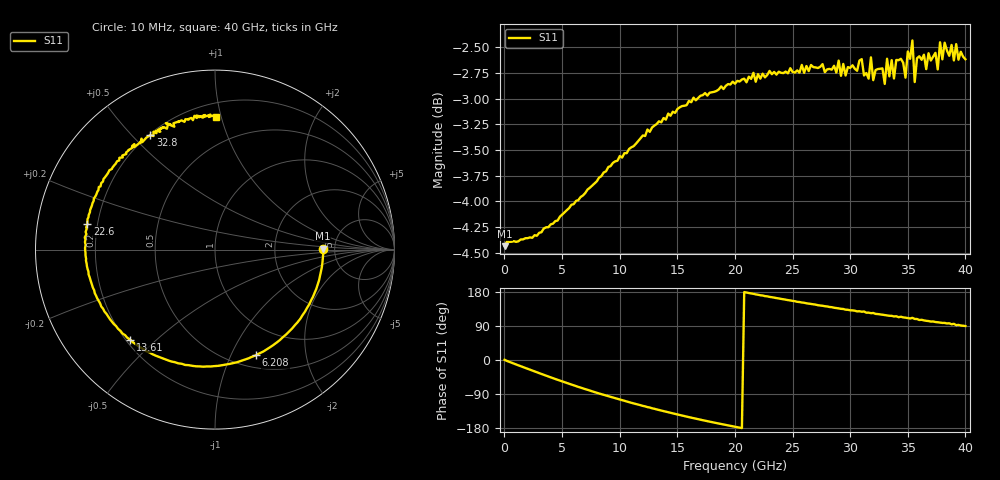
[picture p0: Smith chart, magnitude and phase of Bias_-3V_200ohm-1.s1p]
!Agilent Technologies,N5227A,US51270434,A.10.00.00
!Agilent N5227A: A.10.00.00
!Date: Monday, March 30, 2026 11:35:14
!Correction: S11(Full 1 Port(1))
!S1P File: Measurement: S11:
# Hz S  dB  R 50
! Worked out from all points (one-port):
!   201 points, 10 MHz to 40 GHz, reference 50 ohm
!   lowest |S11| = -4.4 dB at 10 MHz (marker M1), VSWR 4.00, Z = 200 + j3.03 ohm
!   |S11| at or under -10 dB: nowhere
!   S11 on the Smith chart (normalised r, x): 10 MHz: 4.00, +0.06; 6.208 GHz: 0.64, -1.25; 13.61 GHz: 0.22, -0.41; 22.6 GHz: 0.16, +0.10; 32.8 GHz: 0.21, +0.57; 40 GHz: 0.29, +0.96
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1e7  -4.44 0.5
1.40965e9  -4.37 -16.4
2.60935e9  -4.33 -30.1
5.00875e9  -4.13 -56.5
6.20845e9  -4.00 -68.9
8.20795e9  -3.77 -88.4
1.00075e10  -3.56 -104.5
1.180705e10  -3.39 -119.3
1.36066e10  -3.23 -133.3
1.500625e10  -3.10 -143.7
1.740565e10  -2.95 -160.0
2.0005e10  -2.85 -175.9
2.260435e10  -2.79 168.6
2.500375e10  -2.74 156.0
3.00025e10  -2.70 131.1
3.28018e10  -2.70 119.5
3.48013e10  -2.80 111.7
3.500125e10  -2.54 110.5
3.52012e10  -2.61 109.6
3.540115e10  -2.43 111.3
3.56011e10  -2.84 108.3
3.580105e10  -2.61 108.2
3.6001e10  -2.59 105.6
3.860035e10  -2.58 96.9
3.88003e10  -2.48 94.3
3.900025e10  -2.63 95.5
3.92002e10  -2.47 91.9
4e10  -2.62 89.7
